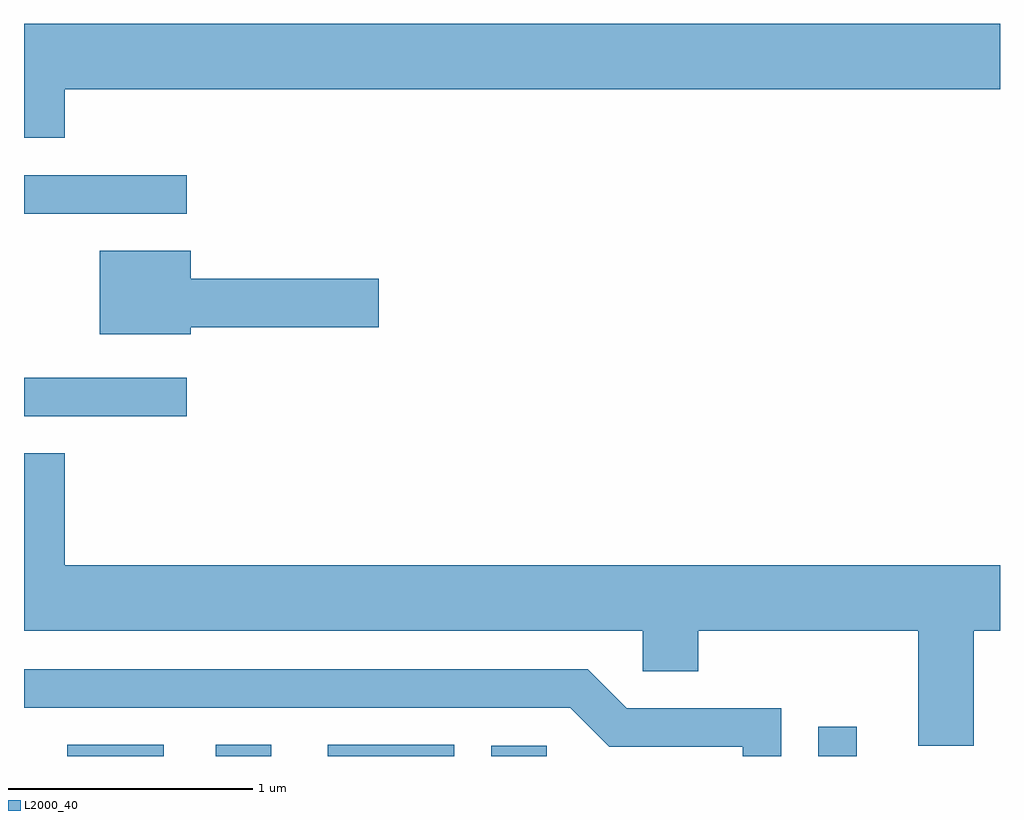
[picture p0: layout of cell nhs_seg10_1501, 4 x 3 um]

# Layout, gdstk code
import gdstk
lib = gdstk.Library(unit=1e-6, precision=1e-09)
def R(c, l, rs):  # rectangles x0, y0, x1, y1
    for r in rs: c.add(gdstk.rectangle(r[:2], r[2:], *l))
def P(c, l, *ps):  # polygons
    for p in ps: c.add(gdstk.Polygon(p, *l))
L2000_40 = (2000, 40)

nhs_seg10_1501 = lib.new_cell('nhs_seg10_1501')
R(nhs_seg10_1501, L2000_40, [(229.788,2104.522,230.184,2104.569), (230.396,2104.522,230.624,2104.569), (230.856,2104.522,231.374,2104.569), (231.526,2104.522,231.754,2104.564), (232.866,2104.522,233.024,2104.643), (229.611,2105.916,230.278,2106.074), (229.611,2106.746,230.278,2106.904)])
P(nhs_seg10_1501, L2000_40, [(229.779,2107.256),(233.611,2107.256),(233.611,2107.524),(229.611,2107.524),(229.611,2107.056),(229.779,2107.056)],
  [(230.294,2106.281),(231.064,2106.281),(231.064,2106.479),(230.294,2106.479),(230.294,2106.594),(229.921,2106.594),(229.921,2106.251),(230.294,2106.251)],
  [(233.504,2105.036),(233.611,2105.036),(233.611,2105.304),(229.779,2105.304),(229.779,2105.764),(229.611,2105.764),(229.611,2105.036),(232.146,2105.036),(232.146,2104.871),(232.374,2104.871),(232.374,2105.036),(233.276,2105.036),(233.276,2104.566),(233.504,2104.566)],
  [(232.714,2104.719),(232.082,2104.719),(231.922,2104.879),(229.611,2104.879),(229.611,2104.721),(231.849,2104.721),(232.009,2104.561),(232.556,2104.561),(232.556,2104.522),(232.714,2104.522)])

lib.write_gds('nhs_seg10_1501.gds')
